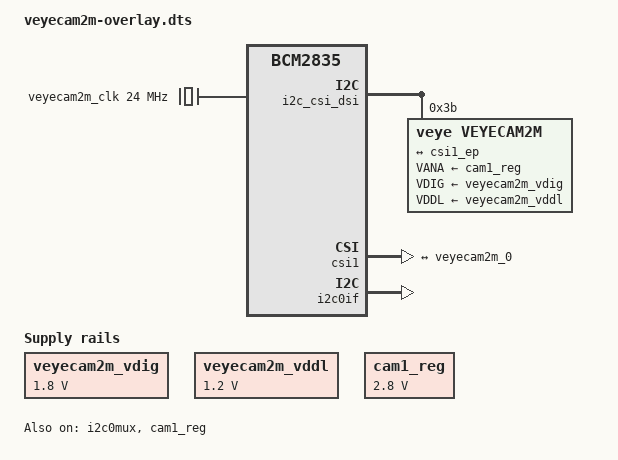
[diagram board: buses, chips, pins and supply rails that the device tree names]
// SPDX-License-Identifier: GPL-2.0-only
// Definitions for VEYECAM2M camera module on VC I2C bus
/dts-v1/;
/plugin/;

#include <dt-bindings/gpio/gpio.h>

/{
	compatible = "brcm,bcm2835";

	fragment@0 {
		target = <&i2c_csi_dsi>;
		__overlay__ {
			#address-cells = <1>;
			#size-cells = <0>;
			status = "okay";

			veyecam2m: veyecam2m@3b {
				compatible = "veye,veyecam2m";
				reg = <0x3b>;
				status = "okay";

				clocks = <&veyecam2m_clk>;
				clock-names = "xclk";

				VANA-supply = <&cam1_reg>;	/* 2.8v */
				VDIG-supply = <&veyecam2m_vdig>;	/* 1.8v */
				VDDL-supply = <&veyecam2m_vddl>;	/* 1.2v */
				rotation = <0>;

				port {
					veyecam2m_0: endpoint {
						remote-endpoint = <&csi1_ep>;
						clock-lanes = <0>;
						data-lanes = <1 2>;
						clock-noncontinuous;
						link-frequencies =
							/bits/ 64 <297000000>;
					};
				};
			};
		};
	};

	fragment@1 {
		target = <&csi1>;
		__overlay__ {
			status = "okay";

			port {
				csi1_ep: endpoint {
					remote-endpoint = <&veyecam2m_0>;
					clock-lanes = <0>;
					data-lanes = <1 2>;
					clock-noncontinuous;
				};
			};
		};
	};

	fragment@2 {
		target = <&i2c0if>;
		__overlay__ {
			status = "okay";
		};
	};

	fragment@3 {
		target-path="/";
		__overlay__ {

			veyecam2m_vdig: fixedregulator@1 {
				compatible = "regulator-fixed";
				regulator-name = "veyecam2m_vdig";
				regulator-min-microvolt = <1800000>;
				regulator-max-microvolt = <1800000>;
			};
			veyecam2m_vddl: fixedregulator@2 {
				compatible = "regulator-fixed";
				regulator-name = "veyecam2m_vddl";
				regulator-min-microvolt = <1200000>;
				regulator-max-microvolt = <1200000>;
			};

			veyecam2m_clk: camera-clk {
				compatible = "fixed-clock";
				#clock-cells = <0>;
				clock-frequency = <24000000>;
			};
		};
	};

	fragment@4 {
		target = <&i2c0mux>;
		__overlay__ {
			status = "okay";
		};
	};

	fragment@5 {
		target = <&cam1_reg>;
		__overlay__ {
			status = "okay";
			regulator-name = "veyecam2m_vana";
			regulator-min-microvolt = <2800000>;
			regulator-max-microvolt = <2800000>;
		};
	};

	__overrides__ {
		rotation = <&veyecam2m>,"rotation:0";
	};
};
